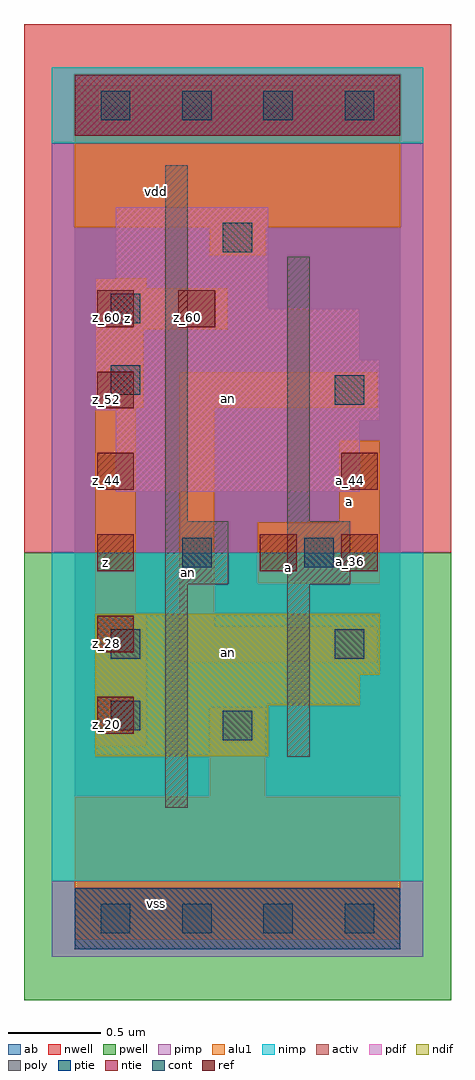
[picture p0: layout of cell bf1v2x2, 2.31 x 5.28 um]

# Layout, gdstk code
import gdstk
lib = gdstk.Library(unit=1e-6, precision=2.5e-09)
def R(c, l, rs):  # rectangles x0, y0, x1, y1
    for r in rs: c.add(gdstk.rectangle(r[:2], r[2:], *l))
def A(c, l, x, y, w, h, nx, ny, dx, dy):  # array of equal rectangles
    R(c, l, [(x+i*dx, y+j*dy, x+i*dx+w, y+j*dy+h) for i in range(nx) for j in range(ny)])
ndif = (3, 0)
pdif = (4, 0)
ntie = (5, 0)
ptie = (6, 0)
ref = (24, 0)
cont = (25, 0)
pwell = (41, 0)
nwell = (42, 0)
activ = (43, 0)
pimp = (44, 0)
nimp = (45, 0)
poly = (46, 0)
alu1 = (49, 0)
ab = (63, 0)

bf1v2x2 = lib.new_cell('bf1v2x2')
R(bf1v2x2, ndif, [(0.11,0.88,1.045,1.155), (0.11,1.155,1.54,1.32), (0.11,1.32,1.65,1.65)])
R(bf1v2x2, pdif, [(0.22,2.31,1.54,2.695), (0.22,2.695,1.65,2.75), (0.11,2.75,1.65,3.025), (0.11,3.025,1.54,3.3), (0.11,3.3,1.045,3.465), (0.22,3.465,1.045,3.85)])
R(bf1v2x2, ntie, [(0,4.235,1.76,4.565)])
R(bf1v2x2, ptie, [(0,-0.165,1.76,0.165)])
A(bf1v2x2, ref, 0.12, 1, 0.2, 0.2, 1, 6, 0, 0.44)
R(bf1v2x2, ref, [(1,1.88,1.2,2.08), (1.44,1.88,1.64,2.08), (1.44,2.32,1.64,2.52), (0.56,3.2,0.76,3.4)])
A(bf1v2x2, cont, 0.14, -0.08, 0.16, 0.16, 4, 2, 0.44, 4.4)
R(bf1v2x2, cont, [(0.8,0.965,0.96,1.125), (0.195,1.02,0.355,1.18), (0.195,1.405,0.355,1.565), (1.405,1.405,1.565,1.565), (0.58,1.9,0.74,2.06), (1.24,1.9,1.4,2.06), (1.405,2.78,1.565,2.94), (0.195,2.835,0.355,2.995), (0.195,3.22,0.355,3.38), (0.8,3.605,0.96,3.765)])
R(bf1v2x2, pwell, [(-0.275,-0.44,2.035,1.98)])
R(bf1v2x2, nwell, [(-0.275,1.98,2.035,4.84)])
R(bf1v2x2, activ, [(0,-0.165,1.76,0.165), (0.11,0.88,1.045,1.155), (0.11,1.155,1.54,1.32), (0.11,1.32,1.65,1.65), (0.22,2.31,1.54,2.695), (0.22,2.695,1.65,2.75), (0.11,2.75,1.65,3.025), (0.11,3.025,1.54,3.3), (0.11,3.3,1.045,3.465), (0.22,3.465,1.045,3.85), (0,4.235,1.76,4.565)])
R(bf1v2x2, pimp, [(-0.125,-0.205,1.885,0.205), (-0.125,1.98,1.885,4.195)])
R(bf1v2x2, nimp, [(-0.125,0.205,1.885,1.98), (-0.125,4.195,1.885,4.605)])
R(bf1v2x2, poly, [(0.49,0.6,0.61,1.81), (1.15,0.875,1.27,1.81), (0.49,1.81,0.83,2.15), (1.15,1.81,1.49,2.15), (0.49,2.15,0.61,4.075), (1.15,2.15,1.27,3.58)])
R(bf1v2x2, alu1, [(0,-0.11,1.76,0.66), (0.73,0.66,1.03,1.14), (0.11,0.935,0.385,1.65), (0.565,1.39,1.635,1.58), (0.565,1.58,0.755,2.765), (0.11,1.65,0.33,2.765), (0.99,1.815,1.65,2.145), (1.43,2.145,1.65,2.585), (0.11,2.765,0.37,3.19), (0.565,2.765,1.635,2.955), (0.11,3.19,0.825,3.41), (0.11,3.41,0.385,3.465), (0.73,3.59,1.03,3.74), (0,3.74,1.76,4.51)])
R(bf1v2x2, ab, [(0,0,1.76,4.4)])
bf1v2x2.add(gdstk.Label('vss', (0.44,0.0825), layer=49, texttype=0))
bf1v2x2.add(gdstk.Label('an', (0.8325,1.4375), layer=49, texttype=0))
bf1v2x2.add(gdstk.Label('a', (1.155,1.8975), layer=49, texttype=0))
bf1v2x2.add(gdstk.Label('a', (1.485,2.255), layer=49, texttype=0))
bf1v2x2.add(gdstk.Label('an', (0.6125,1.875), layer=49, texttype=0))
bf1v2x2.add(gdstk.Label('z', (0.165,1.9275), layer=49, texttype=0))
bf1v2x2.add(gdstk.Label('an', (0.8325,2.8125), layer=49, texttype=0))
bf1v2x2.add(gdstk.Label('z', (0.2875,3.245), layer=49, texttype=0))
bf1v2x2.add(gdstk.Label('vdd', (0.44,3.9325), layer=49, texttype=0))
bf1v2x2.add(gdstk.Label('z_60', (0.61,3.25), layer=24, texttype=0))
bf1v2x2.add(gdstk.Label('a_36', (1.05,1.93), layer=24, texttype=0))
bf1v2x2.add(gdstk.Label('a_36', (1.49,1.93), layer=24, texttype=0))
bf1v2x2.add(gdstk.Label('a_44', (1.49,2.37), layer=24, texttype=0))
bf1v2x2.add(gdstk.Label('z_20', (0.17,1.05), layer=24, texttype=0))
bf1v2x2.add(gdstk.Label('z_28', (0.17,1.49), layer=24, texttype=0))
bf1v2x2.add(gdstk.Label('z_36', (0.17,1.93), layer=24, texttype=0))
bf1v2x2.add(gdstk.Label('z_44', (0.17,2.37), layer=24, texttype=0))
bf1v2x2.add(gdstk.Label('z_52', (0.17,2.81), layer=24, texttype=0))
bf1v2x2.add(gdstk.Label('z_60', (0.17,3.25), layer=24, texttype=0))

lib.write_gds('bf1v2x2.gds')
